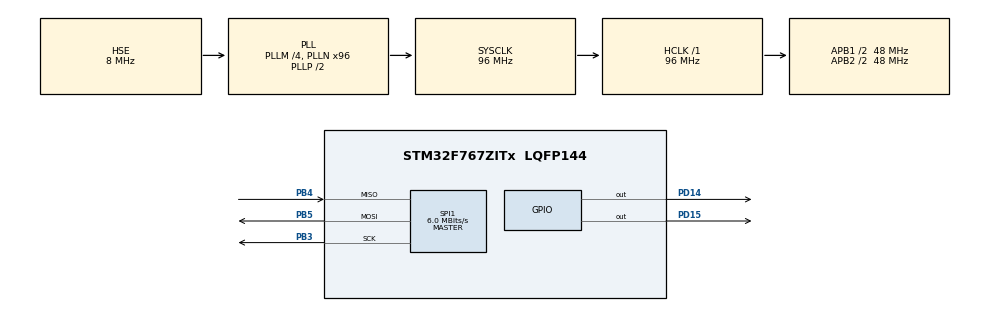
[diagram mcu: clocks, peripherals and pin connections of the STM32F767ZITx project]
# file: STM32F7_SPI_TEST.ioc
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Mcu.Family=STM32F7
Mcu.Name=STM32F767ZITx
Mcu.Package=LQFP144
NVIC.PriorityGroup=NVIC_PRIORITYGROUP_4
PA13.Mode=Serial_Wire
PA13.Signal=SYS_JTMS-SWDIO
PA14.Mode=Serial_Wire
PA14.Signal=SYS_JTCK-SWCLK
PB3.Mode=Full_Duplex_Master
PB3.Signal=SPI1_SCK
PB4.Mode=Full_Duplex_Master
PB4.Signal=SPI1_MISO
PB5.Mode=Full_Duplex_Master
PB5.Signal=SPI1_MOSI
PC14/OSC32_IN.Mode=LSE-External-Oscillator
PC14/OSC32_IN.Signal=RCC_OSC32_IN
PC15/OSC32_OUT.Mode=LSE-External-Oscillator
PC15/OSC32_OUT.Signal=RCC_OSC32_OUT
PD14.Signal=GPIO_Output
PD15.Signal=GPIO_Output
PH0/OSC_IN.Mode=HSE-External-Clock-Source
PH0/OSC_IN.Signal=RCC_OSC_IN
PH1/OSC_OUT.Mode=HSE-External-Clock-Source
PH1/OSC_OUT.Signal=RCC_OSC_OUT
ProjectManager.HeapSize=0x200
ProjectManager.StackSize=0x400
ProjectManager.TargetToolchain=MDK-ARM V5
RCC.48MHZClocksFreq_Value=24000000
RCC.AHBFreq_Value=96000000
RCC.APB1CLKDivider=RCC_HCLK_DIV2
RCC.APB1Freq_Value=48000000
RCC.APB1TimFreq_Value=96000000
RCC.APB2CLKDivider=RCC_HCLK_DIV2
RCC.APB2Freq_Value=48000000
RCC.APB2TimFreq_Value=96000000
RCC.CortexFreq_Value=96000000
RCC.HCLKFreq_Value=96000000
RCC.HSE_VALUE=8000000
RCC.HSI_VALUE=16000000
RCC.PLLM=4
RCC.PLLMUL=RCC_PLL_MUL9
RCC.PLLN=96
RCC.PLLQ=4
RCC.PLLSourceVirtual=RCC_PLLSOURCE_HSE
RCC.PRESCALERUSB=RCC_USBCLKSOURCE_PLL_DIV1_5
RCC.SYSCLKFreq_VALUE=96000000
RCC.SYSCLKSource=RCC_SYSCLKSOURCE_PLLCLK
RCC.SYSCLKSourceVirtual=RCC_SYSCLKSOURCE_PLLCLK
RCC.USBFreq_Value=48000000
RCC.VCOOutputFreq_Value=192000000
SPI1.BaudRatePrescaler=SPI_BAUDRATEPRESCALER_8
SPI1.CalculateBaudRate=6.0 MBits/s
SPI1.DataSize=SPI_DATASIZE_8BIT
SPI1.Direction=SPI_DIRECTION_2LINES
SPI1.Mode=SPI_MODE_MASTER
SPI1.NSSPMode=SPI_NSS_PULSE_DISABLE
SPI1.VirtualType=VM_MASTER
board=NUCLEO-F767ZI

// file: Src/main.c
/* USER CODE BEGIN Header */
/**
  ******************************************************************************
  * @file           : main.c
  * @brief          : Main program body
  ******************************************************************************
  ** This notice applies to any and all portions of this file
  * that are not between comment pairs USER CODE BEGIN and
  * USER CODE END. Other portions of this file, whether
  * inserted by the user or by software development tools
  * are owned by their respective copyright owners.
  *
  * COPYRIGHT(c) 2019 STMicroelectronics
  *
  * Redistribution and use in source and binary forms, with or without modification,
  * are permitted provided that the following conditions are met:
  *   1. Redistributions of source code must retain the above copyright notice,
  *      this list of conditions and the following disclaimer.
  *   2. Redistributions in binary form must reproduce the above copyright notice,
  *      this list of conditions and the following disclaimer in the documentation
  *      and/or other materials provided with the distribution.
  *   3. Neither the name of STMicroelectronics nor the names of its contributors
  *      may be used to endorse or promote products derived from this software
  *      without specific prior written permission.
  *
  * THIS SOFTWARE IS PROVIDED BY THE COPYRIGHT HOLDERS AND CONTRIBUTORS "AS IS"
  * AND ANY EXPRESS OR IMPLIED WARRANTIES, INCLUDING, BUT NOT LIMITED TO, THE
  * IMPLIED WARRANTIES OF MERCHANTABILITY AND FITNESS FOR A PARTICULAR PURPOSE ARE
  * DISCLAIMED. IN NO EVENT SHALL THE COPYRIGHT HOLDER OR CONTRIBUTORS BE LIABLE
  * FOR ANY DIRECT, INDIRECT, INCIDENTAL, SPECIAL, EXEMPLARY, OR CONSEQUENTIAL
  * DAMAGES (INCLUDING, BUT NOT LIMITED TO, PROCUREMENT OF SUBSTITUTE GOODS OR
  * SERVICES; LOSS OF USE, DATA, OR PROFITS; OR BUSINESS INTERRUPTION) HOWEVER
  * CAUSED AND ON ANY THEORY OF LIABILITY, WHETHER IN CONTRACT, STRICT LIABILITY,
  * OR TORT (INCLUDING NEGLIGENCE OR OTHERWISE) ARISING IN ANY WAY OUT OF THE USE
  * OF THIS SOFTWARE, EVEN IF ADVISED OF THE POSSIBILITY OF SUCH DAMAGE.
  *
  ******************************************************************************
  */
/* USER CODE END Header */

#include "main.h"

/* USER CODE BEGIN Includes */
#include "nrf24.h"
#include <String.h>
/* USER CODE END Includes */

/* USER CODE BEGIN PV */
uint32_t checkSPI = 0;
uint8_t  dataTX[32];

/* USER CODE END PV */

void SystemClock_Config(void);
static void MX_GPIO_Init(void);
static void MX_SPI1_Init(void);

int main(void)
{

  /* MCU Configuration--------------------------------------------------------*/

  /* Reset of all peripherals, Initializes the Flash interface and the Systick. */
  HAL_Init();

  /* Configure the system clock */
  SystemClock_Config();

  /* Initialize all configured peripherals */
  MX_GPIO_Init();
  MX_SPI1_Init();
  /* USER CODE BEGIN 2 */
	nRF24_GPIO_Init();
	LL_SPI_Enable(SPI1);

	nRF24_Init();
	nRF24_DisableAA(nRF24_PIPETX);
	nRF24_SetPowerMode(nRF24_PWR_UP);
	nRF24_SetOperationalMode(nRF24_MODE_TX);

	nRF24_CE_H();

	uint8_t dataSend = 1;

  /* USER CODE END 2 */

  /* Infinite loop */
  /* USER CODE BEGIN WHILE */
  while (1)
  {
    checkSPI = nRF24_Check();
		memset(dataTX, dataSend, 32);
		nRF24_WritePayload(dataTX, 32);
		while(!(nRF24_GetStatus() & nRF24_FLAG_TX_DS));
		nRF24_FlushTX();
		HAL_GPIO_TogglePin(GPIOB ,GPIO_PIN_7);
		HAL_Delay(2000);
		dataSend++;
		if(dataSend == 10)
		{
			dataSend = 1;
		}

    nRF24_Init();
    nRF24_DisableAA(nRF24_PIPETX);
    nRF24_SetPowerMode(nRF24_PWR_UP);
    nRF24_SetOperationalMode(nRF24_MODE_TX);
    nRF24_CE_H();
    /* USER CODE END WHILE */

  }
}

void SystemClock_Config(void)
{
  RCC_OscInitTypeDef RCC_OscInitStruct = {0};
  RCC_ClkInitTypeDef RCC_ClkInitStruct = {0};

  /**Configure LSE Drive Capability
  */
  HAL_PWR_EnableBkUpAccess();
  /**Configure the main internal regulator output voltage
  */
  __HAL_RCC_PWR_CLK_ENABLE();
  __HAL_PWR_VOLTAGESCALING_CONFIG(PWR_REGULATOR_VOLTAGE_SCALE3);
  /**Initializes the CPU, AHB and APB busses clocks
  */
  RCC_OscInitStruct.OscillatorType = RCC_OSCILLATORTYPE_HSE;
  RCC_OscInitStruct.HSEState = RCC_HSE_BYPASS;
  RCC_OscInitStruct.PLL.PLLState = RCC_PLL_ON;
  RCC_OscInitStruct.PLL.PLLSource = RCC_PLLSOURCE_HSE;
  RCC_OscInitStruct.PLL.PLLM = 4;
  RCC_OscInitStruct.PLL.PLLN = 96;
  RCC_OscInitStruct.PLL.PLLP = RCC_PLLP_DIV2;
  RCC_OscInitStruct.PLL.PLLQ = 4;
  if (HAL_RCC_OscConfig(&RCC_OscInitStruct) != HAL_OK)
  {
    Error_Handler();
  }
  /**Activate the Over-Drive mode
  */
  if (HAL_PWREx_EnableOverDrive() != HAL_OK)
  {
    Error_Handler();
  }
  /**Initializes the CPU, AHB and APB busses clocks
  */
  RCC_ClkInitStruct.ClockType = RCC_CLOCKTYPE_HCLK|RCC_CLOCKTYPE_SYSCLK
                              |RCC_CLOCKTYPE_PCLK1|RCC_CLOCKTYPE_PCLK2;
  RCC_ClkInitStruct.SYSCLKSource = RCC_SYSCLKSOURCE_PLLCLK;
  RCC_ClkInitStruct.AHBCLKDivider = RCC_SYSCLK_DIV1;
  RCC_ClkInitStruct.APB1CLKDivider = RCC_HCLK_DIV2;
  RCC_ClkInitStruct.APB2CLKDivider = RCC_HCLK_DIV2;

  if (HAL_RCC_ClockConfig(&RCC_ClkInitStruct, FLASH_LATENCY_3) != HAL_OK)
  {
    Error_Handler();
  }
}

static void MX_SPI1_Init(void)
{

  LL_SPI_InitTypeDef SPI_InitStruct = {0};

  LL_GPIO_InitTypeDef GPIO_InitStruct = {0};

  /* Peripheral clock enable */
  LL_APB2_GRP1_EnableClock(LL_APB2_GRP1_PERIPH_SPI1);

  LL_AHB1_GRP1_EnableClock(LL_AHB1_GRP1_PERIPH_GPIOB);
  /**SPI1 GPIO Configuration
  PB3   ------> SPI1_SCK
  PB4   ------> SPI1_MISO
  PB5   ------> SPI1_MOSI
  */
  GPIO_InitStruct.Pin = LL_GPIO_PIN_3;
  GPIO_InitStruct.Mode = LL_GPIO_MODE_ALTERNATE;
  GPIO_InitStruct.Speed = LL_GPIO_SPEED_FREQ_VERY_HIGH;
  GPIO_InitStruct.OutputType = LL_GPIO_OUTPUT_PUSHPULL;
  GPIO_InitStruct.Pull = LL_GPIO_PULL_NO;
  GPIO_InitStruct.Alternate = LL_GPIO_AF_5;
  LL_GPIO_Init(GPIOB, &GPIO_InitStruct);

  GPIO_InitStruct.Pin = LL_GPIO_PIN_4;
  GPIO_InitStruct.Mode = LL_GPIO_MODE_ALTERNATE;
  GPIO_InitStruct.Speed = LL_GPIO_SPEED_FREQ_VERY_HIGH;
  GPIO_InitStruct.OutputType = LL_GPIO_OUTPUT_PUSHPULL;
  GPIO_InitStruct.Pull = LL_GPIO_PULL_NO;
  GPIO_InitStruct.Alternate = LL_GPIO_AF_5;
  LL_GPIO_Init(GPIOB, &GPIO_InitStruct);

  GPIO_InitStruct.Pin = LL_GPIO_PIN_5;
  GPIO_InitStruct.Mode = LL_GPIO_MODE_ALTERNATE;
  GPIO_InitStruct.Speed = LL_GPIO_SPEED_FREQ_VERY_HIGH;
  GPIO_InitStruct.OutputType = LL_GPIO_OUTPUT_PUSHPULL;
  GPIO_InitStruct.Pull = LL_GPIO_PULL_NO;
  GPIO_InitStruct.Alternate = LL_GPIO_AF_5;
  LL_GPIO_Init(GPIOB, &GPIO_InitStruct);

  /* SPI1 parameter configuration*/
  SPI_InitStruct.TransferDirection = LL_SPI_FULL_DUPLEX;
  SPI_InitStruct.Mode = LL_SPI_MODE_MASTER;
  SPI_InitStruct.DataWidth = LL_SPI_DATAWIDTH_8BIT;
  SPI_InitStruct.ClockPolarity = LL_SPI_POLARITY_LOW;
  SPI_InitStruct.ClockPhase = LL_SPI_PHASE_1EDGE;
  SPI_InitStruct.NSS = LL_SPI_NSS_SOFT;
  SPI_InitStruct.BaudRate = LL_SPI_BAUDRATEPRESCALER_DIV8;
  SPI_InitStruct.BitOrder = LL_SPI_MSB_FIRST;
  SPI_InitStruct.CRCCalculation = LL_SPI_CRCCALCULATION_DISABLE;
  SPI_InitStruct.CRCPoly = 7;
  LL_SPI_Init(SPI1, &SPI_InitStruct);
  LL_SPI_SetStandard(SPI1, LL_SPI_PROTOCOL_MOTOROLA);
  LL_SPI_DisableNSSPulseMgt(SPI1);
  /* USER CODE BEGIN SPI1_Init 2 */
	LL_SPI_WriteReg(SPI1, CR2, SPI_CR2_FRXTH_Msk);
  /* USER CODE END SPI1_Init 2 */

}

static void MX_GPIO_Init(void)
{
  LL_GPIO_InitTypeDef GPIO_InitStruct = {0};

  /* GPIO Ports Clock Enable */
  LL_AHB1_GRP1_EnableClock(LL_AHB1_GRP1_PERIPH_GPIOC);
  LL_AHB1_GRP1_EnableClock(LL_AHB1_GRP1_PERIPH_GPIOH);
  LL_AHB1_GRP1_EnableClock(LL_AHB1_GRP1_PERIPH_GPIOD);
  LL_AHB1_GRP1_EnableClock(LL_AHB1_GRP1_PERIPH_GPIOA);
  LL_AHB1_GRP1_EnableClock(LL_AHB1_GRP1_PERIPH_GPIOB);

  /**/
  LL_GPIO_ResetOutputPin(GPIOD, LL_GPIO_PIN_14);

  /**/
  LL_GPIO_ResetOutputPin(GPIOD, LL_GPIO_PIN_15);

  /**/
  GPIO_InitStruct.Pin = LL_GPIO_PIN_14;
  GPIO_InitStruct.Mode = LL_GPIO_MODE_OUTPUT;
  GPIO_InitStruct.Speed = LL_GPIO_SPEED_FREQ_LOW;
  GPIO_InitStruct.OutputType = LL_GPIO_OUTPUT_PUSHPULL;
  GPIO_InitStruct.Pull = LL_GPIO_PULL_NO;
  LL_GPIO_Init(GPIOD, &GPIO_InitStruct);

  /**/
  GPIO_InitStruct.Pin = LL_GPIO_PIN_15;
  GPIO_InitStruct.Mode = LL_GPIO_MODE_OUTPUT;
  GPIO_InitStruct.Speed = LL_GPIO_SPEED_FREQ_LOW;
  GPIO_InitStruct.OutputType = LL_GPIO_OUTPUT_PUSHPULL;
  GPIO_InitStruct.Pull = LL_GPIO_PULL_NO;
  LL_GPIO_Init(GPIOD, &GPIO_InitStruct);

}

void Error_Handler(void)
{
}

/************************ (C) COPYRIGHT STMicroelectronics *****END OF FILE****/
